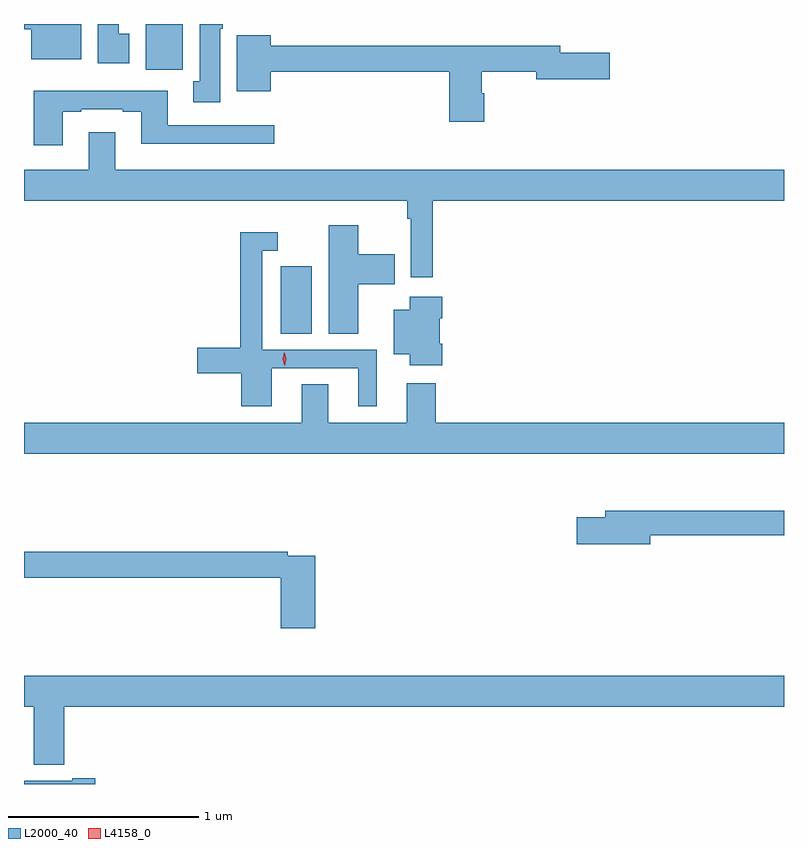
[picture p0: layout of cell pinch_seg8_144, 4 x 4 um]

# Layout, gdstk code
import gdstk
lib = gdstk.Library(unit=1e-6, precision=1e-09)
def R(c, l, rs):  # rectangles x0, y0, x1, y1
    for r in rs: c.add(gdstk.rectangle(r[:2], r[2:], *l))
def P(c, l, *ps):  # polygons
    for p in ps: c.add(gdstk.Polygon(p, *l))
L2000_40 = (2000, 40)
L4158_0 = (4158, 0)

pinch_seg8_144 = lib.new_cell('pinch_seg8_144')
R(pinch_seg8_144, L2000_40, [(804.914,1145.104,805.078,1145.458), (804.203,1146.492,804.399,1146.734)])
P(pinch_seg8_144, L2000_40, [(803.863,1146.734),(803.563,1146.734),(803.563,1146.706),(803.6,1146.706),(803.6,1146.548),(803.863,1146.548)],
  [(804.595,1146.71),(804.61,1146.71),(804.61,1146.734),(804.488,1146.734),(804.488,1146.433),(804.455,1146.433),(804.455,1146.321),(804.595,1146.321)],
  [(804.118,1146.684),(804.061,1146.684),(804.061,1146.734),(803.951,1146.734),(803.951,1146.528),(804.118,1146.528)],
  [(805.985,1146.369),(805.972,1146.369),(805.972,1146.484),(806.258,1146.484),(806.258,1146.442),(806.647,1146.442),(806.647,1146.584),(806.386,1146.584),(806.386,1146.62),(804.862,1146.62),(804.862,1146.676),(804.683,1146.676),(804.683,1146.38),(804.862,1146.38),(804.862,1146.484),(805.802,1146.484),(805.802,1146.219),(805.985,1146.219)],
  [(803.767,1146.273),(803.863,1146.273),(803.863,1146.285),(804.083,1146.285),(804.083,1146.273),(804.179,1146.273),(804.179,1146.104),(804.88,1146.104),(804.88,1146.201),(804.319,1146.201),(804.319,1146.382),(803.615,1146.382),(803.615,1146.096),(803.767,1146.096)],
  [(805.715,1145.804),(807.563,1145.804),(807.563,1145.968),(804.043,1145.968),(804.043,1146.163),(803.903,1146.163),(803.903,1145.968),(803.563,1145.968),(803.563,1145.804),(805.579,1145.804),(805.579,1145.708),(805.599,1145.708),(805.599,1145.4),(805.715,1145.4)],
  [(805.321,1145.363),(805.514,1145.363),(805.514,1145.521),(805.321,1145.521),(805.321,1145.674),(805.166,1145.674),(805.166,1145.104),(805.321,1145.104)],
  [(804.868,1144.923),(805.322,1144.923),(805.322,1144.722),(805.42,1144.722),(805.42,1145.019),(804.816,1145.019),(804.816,1145.541),(804.898,1145.541),(804.898,1145.638),(804.7,1145.638),(804.7,1145.03),(804.474,1145.03),(804.474,1144.895),(804.707,1144.895),(804.707,1144.722),(804.868,1144.722)],
  [(805.763,1145.05),(805.75,1145.05),(805.75,1145.186),(805.763,1145.186),(805.763,1145.299),(805.592,1145.299),(805.592,1145.23),(805.508,1145.23),(805.508,1144.997),(805.592,1144.997),(805.592,1144.938),(805.763,1144.938)],
  [(807.563,1144.636),(805.73,1144.636),(805.73,1144.843),(805.577,1144.843),(805.577,1144.636),(805.165,1144.636),(805.165,1144.838),(805.025,1144.838),(805.025,1144.636),(803.563,1144.636),(803.563,1144.472),(807.563,1144.472)],
  [(806.86,1144.042),(807.563,1144.042),(807.563,1144.171),(806.621,1144.171),(806.621,1144.137),(806.472,1144.137),(806.472,1143.995),(806.86,1143.995)],
  [(805.097,1143.936),(804.95,1143.936),(804.95,1143.956),(803.563,1143.956),(803.563,1143.82),(804.914,1143.82),(804.914,1143.555),(805.097,1143.555)],
  [(803.774,1143.14),(807.563,1143.14),(807.563,1143.304),(803.563,1143.304),(803.563,1143.14),(803.614,1143.14),(803.614,1142.836),(803.774,1142.836)],
  [(803.939,1142.764),(803.816,1142.764),(803.816,1142.751),(803.563,1142.751),(803.563,1142.734),(803.939,1142.734)])
P(pinch_seg8_144, L4158_0, [(804.935,1144.935),(804.935,1144.935),(804.924,1144.97),(804.932,1145.007),(804.932,1145.007),(804.932,1145.007),(804.944,1144.971),(804.935,1144.935)])

lib.write_gds('pinch_seg8_144.gds')
